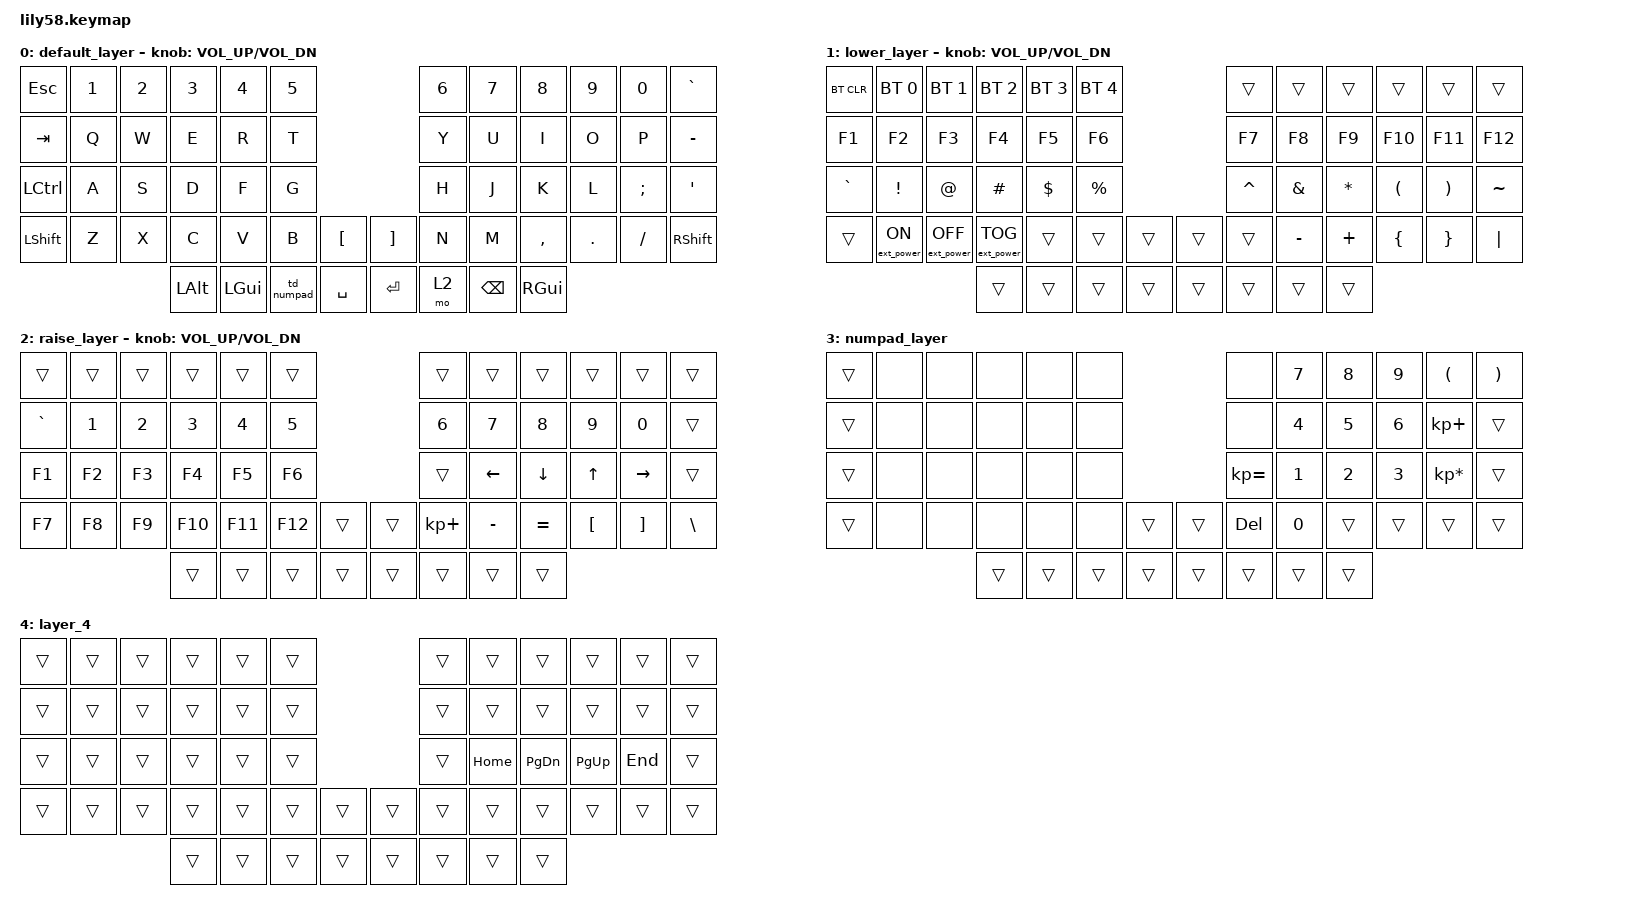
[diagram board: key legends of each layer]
/*
 * Copyright (c) 2020 The ZMK Contributors
 *
 * SPDX-License-Identifier: MIT
 */

#include <behaviors.dtsi>
#include <dt-bindings/zmk/bt.h>
#include <dt-bindings/zmk/ext_power.h>
#include <dt-bindings/zmk/keys.h>

/ {
    behaviors {
        td_numpad: td_numpad {
            compatible = "zmk,behavior-tap-dance";
            label = "TD_NUMPAD";
            #binding-cells = <0>;
            bindings = <&mo 1>, <&tog 3>;
        };
    };

    combos {
        compatible = "zmk,combos";

        Layer-4-Momentary {
            bindings = <&mo 4>;
            key-positions = <52 55>;
        };
    };

    keymap {
        compatible = "zmk,keymap";

        default_layer {
            // ------------------------------------------------------------------------------------------------------------
            // |  ESC  |  1  |  2  |  3   |  4   |  5   |                   |  6   |  7    |  8    |  9   |   0   |   `   |
            // |  TAB  |  Q  |  W  |  E   |  R   |  T   |                   |  Y   |  U    |  I    |  O   |   P   |   -   |
            // |  CTRL |  A  |  S  |  D   |  F   |  G   |                   |  H   |  J    |  K    |  L   |   ;   |   '   |
            // | SHIFT |  Z  |  X  |  C   |  V   |  B   |   "["  |  |  "]"  |  N   |  M    |  ,    |  .   |   /   | SHIFT |
            //                     | ALT  | GUI  | LOWER|  SPACE |  | ENTER | RAISE| BSPC  | GUI   |

            bindings = <
&kp ESC    &kp N1  &kp N2  &kp N3    &kp N4    &kp N5                             &kp N6  &kp N7    &kp N8     &kp N9   &kp N0    &kp GRAVE
&kp TAB    &kp Q   &kp W   &kp E     &kp R     &kp T                              &kp Y   &kp U     &kp I      &kp O    &kp P     &kp MINUS
&kp LCTRL  &kp A   &kp S   &kp D     &kp F     &kp G                              &kp H   &kp J     &kp K      &kp L    &kp SEMI  &kp SQT
&kp LSHFT  &kp Z   &kp X   &kp C     &kp V     &kp B       &kp LBKT     &kp RBKT  &kp N   &kp M     &kp COMMA  &kp DOT  &kp FSLH  &kp RSHFT
                           &kp LALT  &kp LGUI  &td_numpad  &kp SPACE    &kp RET   &mo 2   &kp BSPC  &kp RGUI
            >;

            sensor-bindings = <&inc_dec_kp C_VOL_UP C_VOL_DN>;
        };

        lower_layer {
            // ------------------------------------------------------------------------------------------------------------
            // | BTCLR | BT1 | BT2 |  BT3 |  BT4 |  BT5 |                   |      |       |       |      |       |       |
            // |  F1   |  F2 |  F3 |  F4  |  F5  |  F6  |                   |  F7  |  F8   |  F9   |  F10 |  F11  |  F12  |
            // |   `   |  !  |  @  |  #   |  $   |  %   |                   |  ^   |  &    |  *    |  (   |   )   |   ~   |
            // |       |     |     |      |      |      |        |  |       |      |  _    |  +    |  {   |   }   |  "|"  |
            //                     |      |      |      |        |  |       |      |       |       |

            bindings = <
&bt BT_CLR  &bt BT_SEL 0      &bt BT_SEL 1       &bt BT_SEL 2       &bt BT_SEL 3  &bt BT_SEL 4                    &trans     &trans     &trans     &trans    &trans    &trans
&kp F1      &kp F2            &kp F3             &kp F4             &kp F5        &kp F6                          &kp F7     &kp F8     &kp F9     &kp F10   &kp F11   &kp F12
&kp GRAVE   &kp EXCL          &kp AT             &kp HASH           &kp DOLLAR    &kp PRCNT                       &kp CARET  &kp AMPS   &kp ASTRK  &kp LPAR  &kp RPAR  &kp TILDE
&trans      &ext_power EP_ON  &ext_power EP_OFF  &ext_power EP_TOG  &trans        &trans        &trans    &trans  &trans     &kp MINUS  &kp PLUS   &kp LBRC  &kp RBRC  &kp PIPE
                                                 &trans             &trans        &trans        &trans    &trans  &trans     &trans     &trans
            >;

            sensor-bindings = <&inc_dec_kp C_VOL_UP C_VOL_DN>;
        };

        raise_layer {
            // ------------------------------------------------------------------------------------------------------------
            // |       |     |     |      |      |      |                   |      |       |       |      |       |       |
            // |   `   |  1  |  2  |  3   |  4   |  5   |                   |  6   |   7   |   8   |  9   |   0   |       |
            // |   F1  |  F2 |  F3 |  F4  |  F5  |  F6  |                   |      |   <-  |   v   |  ^   |  ->   |       |
            // |   F7  |  F8 |  F9 |  F10 |  F11 |  F12 |        |  |       |  +   |   -   |   =   |  [   |   ]   |   \   |
            //                     |      |      |      |        |  |       |      |       |       |

            bindings = <
&trans     &trans  &trans  &trans   &trans   &trans                     &trans       &trans     &trans     &trans    &trans     &trans
&kp GRAVE  &kp N1  &kp N2  &kp N3   &kp N4   &kp N5                     &kp N6       &kp N7     &kp N8     &kp N9    &kp N0     &trans
&kp F1     &kp F2  &kp F3  &kp F4   &kp F5   &kp F6                     &trans       &kp LEFT   &kp DOWN   &kp UP    &kp RIGHT  &trans
&kp F7     &kp F8  &kp F9  &kp F10  &kp F11  &kp F12  &trans    &trans  &kp KP_PLUS  &kp MINUS  &kp EQUAL  &kp LBKT  &kp RBKT   &kp BSLH
                           &trans   &trans   &trans   &trans    &trans  &trans       &trans     &trans
            >;

            sensor-bindings = <&inc_dec_kp C_VOL_UP C_VOL_DN>;
        };

        numpad_layer {
            bindings = <
&trans  &none  &none  &none   &none   &none                     &none         &kp N7  &kp N8  &kp N9  &kp LEFT_PARENTHESIS  &kp RIGHT_PARENTHESIS
&trans  &none  &none  &none   &none   &none                     &none         &kp N4  &kp N5  &kp N6  &kp KP_PLUS           &trans
&trans  &none  &none  &none   &none   &none                     &kp KP_EQUAL  &kp N1  &kp N2  &kp N3  &kp KP_MULTIPLY       &trans
&trans  &none  &none  &none   &none   &none   &trans    &trans  &kp DELETE    &kp N0  &trans  &trans  &trans                &trans
                      &trans  &trans  &trans  &trans    &trans  &trans        &trans  &trans
            >;
        };

        layer_4 {
            bindings = <
&trans  &trans  &trans  &trans  &trans  &trans                    &trans  &trans    &trans         &trans       &trans   &trans
&trans  &trans  &trans  &trans  &trans  &trans                    &trans  &trans    &trans         &trans       &trans   &trans
&trans  &trans  &trans  &trans  &trans  &trans                    &trans  &kp HOME  &kp PAGE_DOWN  &kp PAGE_UP  &kp END  &trans
&trans  &trans  &trans  &trans  &trans  &trans  &trans    &trans  &trans  &trans    &trans         &trans       &trans   &trans
                        &trans  &trans  &trans  &trans    &trans  &trans  &trans    &trans
            >;
        };
    };
};
